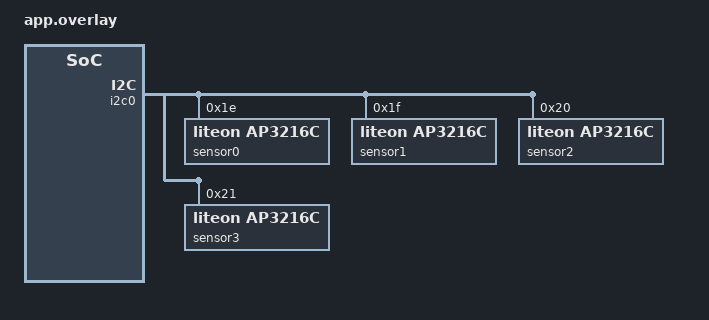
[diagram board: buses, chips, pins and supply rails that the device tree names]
/*
 * SPDX-FileCopyrightText: Copyright The Zephyr Project Contributors
 * SPDX-License-Identifier: Apache-2.0
 */

&i2c0 {
	sensor0: light-sensor@1e {
		compatible = "liteon,ap3216c";
		reg = <0x1e>;
		als-gain = <1>;
	};

	sensor1: light-sensor@1f {
		compatible = "liteon,ap3216c";
		reg = <0x1f>;
		als-gain = <4>;
	};

	sensor2: light-sensor@20 {
		compatible = "liteon,ap3216c";
		reg = <0x20>;
		als-gain = <16>;
	};

	sensor3: light-sensor@21 {
		compatible = "liteon,ap3216c";
		reg = <0x21>;
		als-gain = <64>;
	};
};
